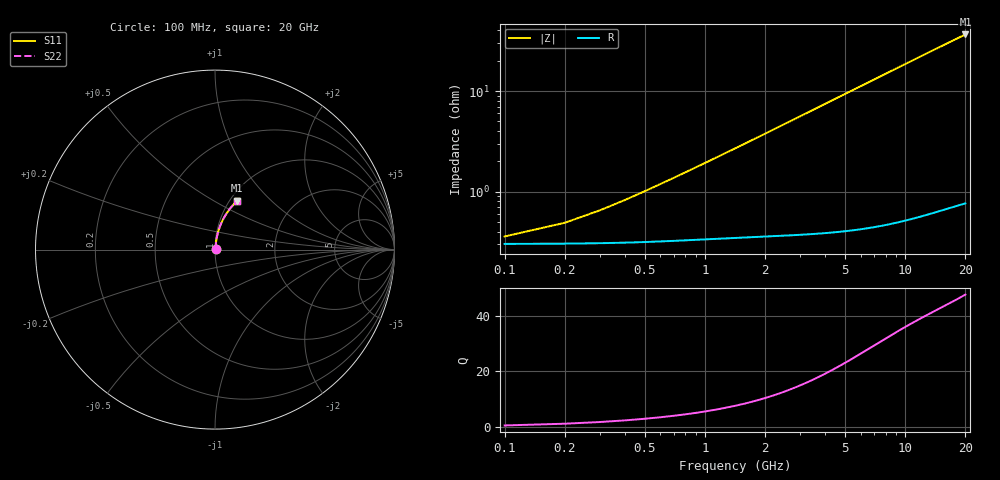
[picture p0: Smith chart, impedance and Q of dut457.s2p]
! Touchstone file exported from HFSS 2026.1.0
!  File:  C:/ffzhzh/LocalFiles/Ansys_Project_Files/temp_train_BSMRDL_457_1783013432_46388.aedt
!  Generated:  01:31:55 AM Jul  3, 2026
!  Design:  BSMRDL
!  Project:  temp_train_BSMRDL_457_1783013432_46388
! Variables:
!  h_bsmrdl = 2.48um
!  h_ox = 20um
!  h_rdl = 5um
!  h_sub = 80um
!  h_tmrdl = 5um
!  h_tsv = 80um
!  h_via = 3um
!  l_bsmrdl = 235.25um
!  l_sub = 635.25um
!  l_tmrdl = 200um
!  m_sub = 200um
!  pitch = 51.26um
!  r_tsv = 6um
!  s_tmrdl = 10um
!  w_bsmrdl = 11.96um
!  w_sub = 500um
!  w_tmrdl = 12um
!  x_tsv_center1 = 206um
!  x_tsv_center2 = 453.21um
!  x_tsv_center3 = 665.21um
!  x_tsv_center4 = 912.42um
!  x_tsv_center5 = 1124.42um
!  x_tsv_center6 = 1371.63um
# GHz S MA R 50.000000
! Terminal data exported
! Port[1] = BSM_RDL1_1_T1
! Port[2] = BSM_RDL1_1_T2
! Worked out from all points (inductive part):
!   200 points, 100 MHz to 20 GHz, reference 50 ohm
!   read as one part in series: L = 303 pH near 500 MHz
!   highest Q = 47.6 at 20 GHz (marker M1), where L = 290 pH
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0.1  0.003451 28.9  0.997 -0.1  0.997 -0.1  0.003451 28.9
! Gamma 0 0 0 0
! Port Impedance 50 0 50 0
0.3  0.005876 58.2  0.9969 -0.4  0.9969 -0.4  0.005876 58.2
0.4  0.007355 64.5  0.9969 -0.5  0.9969 -0.5  0.007355 64.5
0.5  0.008888 68.6  0.9968 -0.6  0.9968 -0.6  0.008888 68.6
0.6  0.01045 71.5  0.9968 -0.7  0.9968 -0.7  0.01045 71.5
0.7  0.01202 73.5  0.9967 -0.9  0.9967 -0.9  0.01202 73.5
0.9  0.01518 76.3  0.9966 -1.1  0.9966 -1.1  0.01517 76.3
1.2  0.01993 78.7  0.9964 -1.5  0.9964 -1.5  0.01993 78.7
1.4  0.0231 79.7  0.9963 -1.7  0.9963 -1.7  0.0231 79.7
1.7  0.02786 80.7  0.9961 -2.1  0.9961 -2.1  0.02786 80.7
2.2  0.03582 81.6  0.9958 -2.7  0.9958 -2.7  0.03582 81.6
2.8  0.04538 82.0  0.9953 -3.4  0.9953 -3.4  0.04538 82.0
3.5  0.05653 81.9  0.9946 -4.2  0.9946 -4.2  0.05653 81.9
4.2  0.06766 81.6  0.9938 -5.1  0.9938 -5.1  0.06766 81.6
5  0.08033 81.1  0.9928 -6.0  0.9928 -6.0  0.08033 81.1
5.9  0.09451 80.4  0.9914 -7.1  0.9914 -7.1  0.09451 80.4
6.8  0.1086 79.5  0.9897 -8.2  0.9897 -8.2  0.1086 79.5
8.3  0.1319 78.0  0.9866 -9.9  0.9866 -9.9  0.1319 78.0
10.1  0.1593 76.1  0.9822 -12.0  0.9822 -12.0  0.1593 76.1
13.4  0.2081 72.6  0.9722 -15.8  0.9722 -15.8  0.2081 72.6
16.7  0.2547 69.0  0.9604 -19.5  0.9604 -19.5  0.2547 69.0
20  0.2989 65.5  0.947 -23.1  0.947 -23.1  0.2989 65.5
